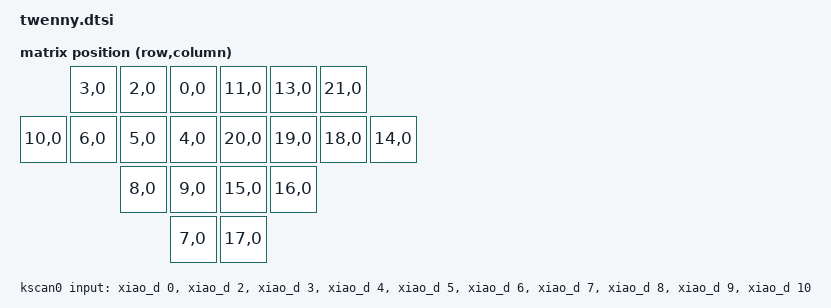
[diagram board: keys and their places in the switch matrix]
#include "twenny-layouts.dtsi"
#include <dt-bindings/zmk/matrix_transform.h>
/ {
	chosen {
        	zmk,physical-layout = &twenny_physical_layout;
		zmk,kscan = &kscan0;
   	};
	kscan0: kscan0 {
		compatible = "zmk,kscan-gpio-direct";
		wakeup-source;

		input-gpios
		= <&xiao_d 0 (GPIO_ACTIVE_LOW | GPIO_PULL_UP)>
		, <&xiao_d 2 (GPIO_ACTIVE_LOW | GPIO_PULL_UP)>
		, <&xiao_d 3 (GPIO_ACTIVE_LOW | GPIO_PULL_UP)>
		, <&xiao_d 4 (GPIO_ACTIVE_LOW | GPIO_PULL_UP)>
		, <&xiao_d 5 (GPIO_ACTIVE_LOW | GPIO_PULL_UP)>
		, <&xiao_d 6 (GPIO_ACTIVE_LOW | GPIO_PULL_UP)>
		, <&xiao_d 7 (GPIO_ACTIVE_LOW | GPIO_PULL_UP)>
		, <&xiao_d 8 (GPIO_ACTIVE_LOW | GPIO_PULL_UP)>
		, <&xiao_d 9 (GPIO_ACTIVE_LOW | GPIO_PULL_UP)>
		, <&xiao_d 10 (GPIO_ACTIVE_LOW | GPIO_PULL_UP)>
		;
	};
	default_transform: keymap_transform_twenny {
		compatible = "zmk,matrix-transform";
		columns = <4>;
		rows = <4>;
		map = <
			RC(3,0) RC(2,0) RC(0,0) RC(11,0) RC(13,0) RC(21,0)
		RC(10,0) RC(6,0) RC(5,0) RC(4,0) RC(20,0) RC(19,0) RC(18,0) RC(14,0)
				RC(8,0) RC(9,0) RC(15,0) RC(16,0)
					RC(7,0) RC(17,0)
		>;
	};
};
